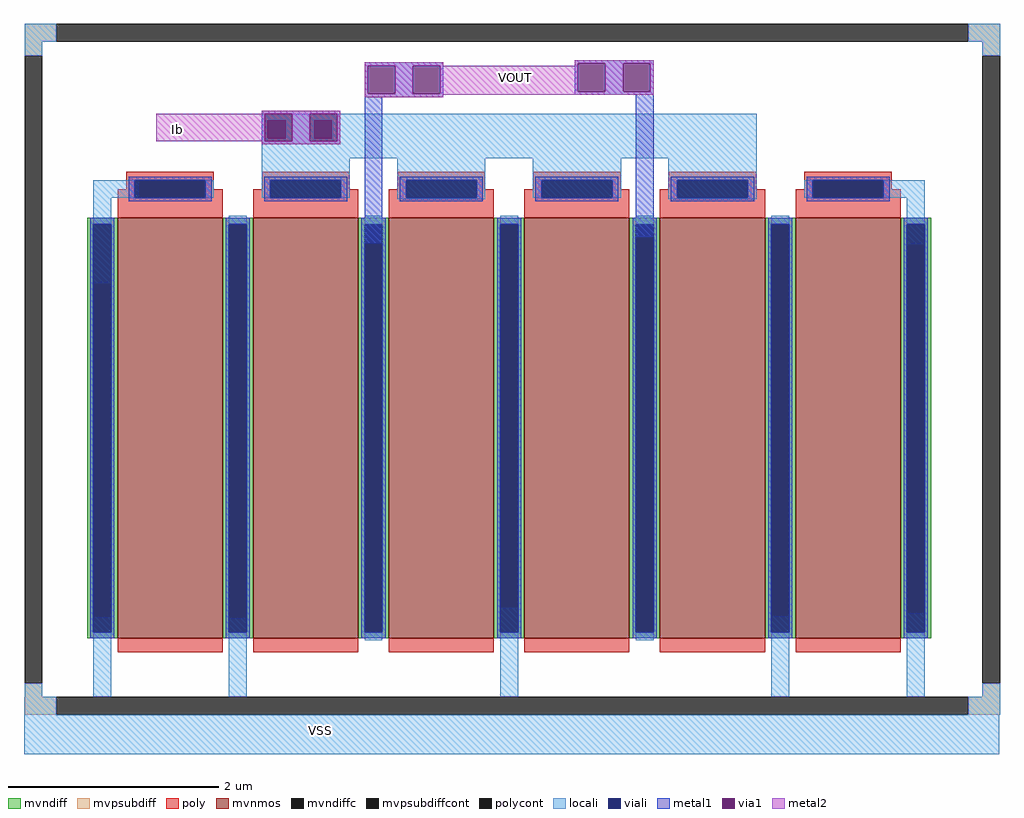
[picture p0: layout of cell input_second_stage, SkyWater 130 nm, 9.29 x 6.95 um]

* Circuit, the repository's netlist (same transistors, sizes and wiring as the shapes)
* NGSPICE file created from input_second_stage.ext - technology: sky130A

.subckt input_second_stage VSS Ib VOUT
X0 VSS VSS VSS VSS sky130_fd_pr__nfet_g5v0d10v5 ad=1.16 pd=8.58 as=1.16 ps=8.58 w=4 l=1 M=2
X1 VSS Ib VOUT VSS sky130_fd_pr__nfet_g5v0d10v5 ad=1.16 pd=8.58 as=0.58 ps=4.29 w=4 l=1 M=4
.ends

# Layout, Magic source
magic
tech sky130A
magscale 1 2
<< mvpsubdiff >>
rect -119 1161 -59 1195
rect 1677 1161 1737 1195
rect -119 1135 -85 1161
rect -119 -85 -85 -59
rect 1703 1135 1737 1161
rect 1703 -85 1737 -59
rect -119 -119 -59 -85
rect 1677 -119 1737 -85
<< mvpsubdiffcont >>
rect -59 1161 1677 1195
rect -119 -59 -85 1135
rect 1703 -59 1737 1135
rect -59 -119 1677 -85
<< locali >>
rect -119 1161 -59 1195
rect 1677 1161 1737 1195
rect -119 1135 -85 1161
rect 1703 1135 1737 1161
rect 332 1012 1274 1024
rect 332 978 344 1012
rect 378 978 432 1012
rect 466 978 1274 1012
rect 332 940 1274 978
rect 12 864 98 898
rect 332 864 500 940
rect 12 702 46 864
rect 590 862 758 940
rect 848 864 1016 940
rect 1106 862 1274 940
rect 1514 864 1594 898
rect 1560 776 1594 864
rect -119 -85 -85 -59
rect 12 -85 46 66
rect 270 -85 304 64
rect 786 -85 820 84
rect 1302 -85 1336 68
rect 1560 -85 1594 74
rect 1703 -85 1737 -59
rect -119 -86 -59 -85
rect -120 -119 -59 -86
rect 1677 -119 1737 -85
rect -120 -194 1736 -119
<< viali >>
rect 344 978 378 1012
rect 432 978 466 1012
<< metal1 >>
rect 528 1116 678 1122
rect 528 1062 534 1116
rect 586 1062 620 1116
rect 672 1062 678 1116
rect 528 1056 678 1062
rect 928 1120 1078 1126
rect 928 1066 934 1120
rect 986 1066 1020 1120
rect 1072 1066 1078 1120
rect 928 1060 1078 1066
rect 332 1024 482 1030
rect 332 972 338 1024
rect 390 972 424 1024
rect 476 972 482 1024
rect 332 966 482 972
rect 528 778 562 1056
rect 1044 790 1078 1060
<< via1 >>
rect 534 1062 586 1116
rect 620 1062 672 1116
rect 934 1066 986 1120
rect 1020 1066 1072 1120
rect 338 1012 390 1024
rect 338 978 344 1012
rect 344 978 378 1012
rect 378 978 390 1012
rect 338 972 390 978
rect 424 1012 476 1024
rect 424 978 432 1012
rect 432 978 466 1012
rect 466 978 476 1012
rect 424 972 476 978
<< metal2 >>
rect 528 1116 678 1122
rect 928 1120 1078 1126
rect 928 1116 934 1120
rect 528 1062 534 1116
rect 586 1062 620 1116
rect 672 1066 934 1116
rect 986 1066 1020 1120
rect 1072 1066 1078 1120
rect 672 1062 1078 1066
rect 528 1060 1078 1062
rect 528 1056 678 1060
rect 332 1024 482 1030
rect 132 972 338 1024
rect 390 972 424 1024
rect 476 972 482 1024
rect 332 966 482 972
use sky130_fd_pr__nfet_g5v0d10v5_8F5HCW  sky130_fd_pr__nfet_g5v0d10v5_8F5HCW_0
transform 1 0 1061 0 1 457
box -287 -457 287 457
use sky130_fd_pr__nfet_g5v0d10v5_8F5HCW  sky130_fd_pr__nfet_g5v0d10v5_8F5HCW_1
transform 1 0 545 0 1 457
box -287 -457 287 457
use sky130_fd_pr__nfet_g5v0d10v5_JZTFN8  sky130_fd_pr__nfet_g5v0d10v5_JZTFN8_0
transform 1 0 158 0 1 457
box -158 -457 158 457
use sky130_fd_pr__nfet_g5v0d10v5_JZTFN8  sky130_fd_pr__nfet_g5v0d10v5_JZTFN8_1
transform 1 0 1448 0 1 457
box -158 -457 158 457
<< labels >>
flabel metal2 152 976 192 1014 0 FreeSans 1600 0 0 0 Ib
port 3 nsew
flabel metal2 796 1074 836 1112 0 FreeSans 1600 0 0 0 VOUT
port 5 nsew
flabel locali 408 -162 482 -136 0 FreeSans 1600 0 0 0 VSS
port 10 nsew
<< end >>

# cell sky130_fd_pr__nfet_g5v0d10v5_8F5HCW: kit device sky130_fd_pr__nfet_g5v0d10v5, w 4 l 1 m 1 nf 2 diffcov 100 polycov 80 guard 0 glc 1 grc 1 gtc 1 gbc 1 tbcov 100 rlcov 100 topc 1 botc 0 poverlap 0 doverlap 1 lmin 0.50 wmin 0.42 class mosfet compatible {sky130_fd_pr__nfet_01v8 sky130_fd_pr__nfet_01v8_lvt sky130_fd_bs_flash__special_sonosfet_star sky130_fd_pr__nfet_g5v0d10v5 sky130_fd_pr__nfet_05v0_nvt sky130_fd_pr__nfet_03v3_nvt} full_metal 1 viasrc 100 viadrn 100 viagate 80 viagb 0 viagr 0 viagl 0 viagt 0

# cell sky130_fd_pr__nfet_g5v0d10v5_JZTFN8: kit device sky130_fd_pr__nfet_g5v0d10v5, w 4 l 1 m 1 nf 1 diffcov 100 polycov 80 guard 0 glc 1 grc 1 gtc 1 gbc 1 tbcov 100 rlcov 100 topc 1 botc 0 poverlap 0 doverlap 1 lmin 0.50 wmin 0.42 class mosfet compatible {sky130_fd_pr__nfet_01v8 sky130_fd_pr__nfet_01v8_lvt sky130_fd_bs_flash__special_sonosfet_star sky130_fd_pr__nfet_g5v0d10v5 sky130_fd_pr__nfet_05v0_nvt sky130_fd_pr__nfet_03v3_nvt} full_metal 1 viasrc 100 viadrn 100 viagate 80 viagb 0 viagr 0 viagl 0 viagt 0
